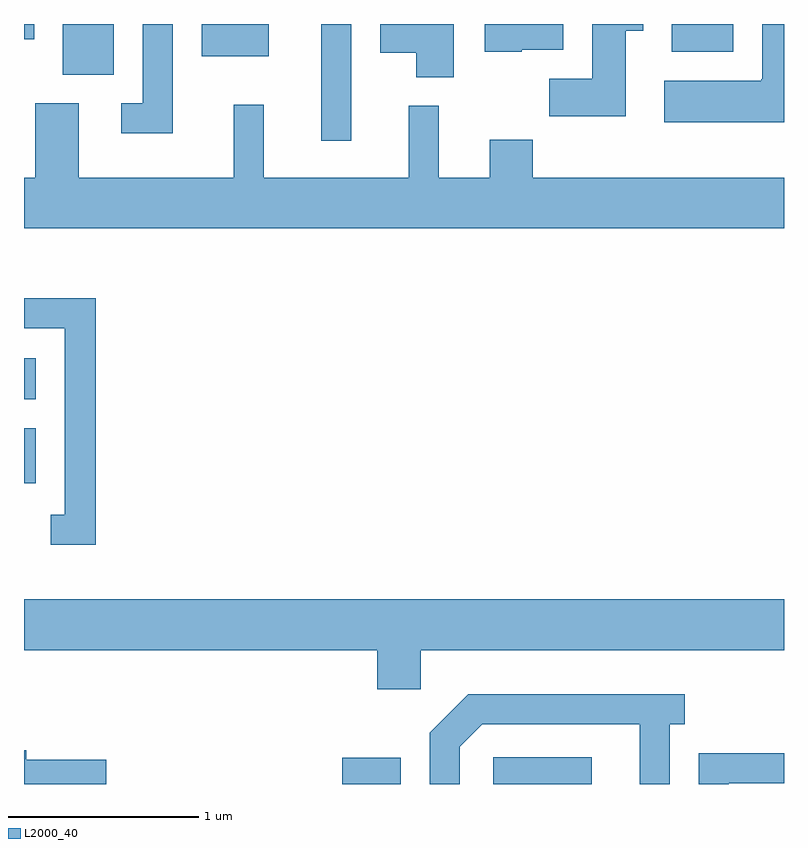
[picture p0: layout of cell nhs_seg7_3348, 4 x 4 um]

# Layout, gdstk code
import gdstk
lib = gdstk.Library(unit=1e-6, precision=1e-09)
def R(c, l, rs):  # rectangles x0, y0, x1, y1
    for r in rs: c.add(gdstk.rectangle(r[:2], r[2:], *l))
def P(c, l, *ps):  # polygons
    for p in ps: c.add(gdstk.Polygon(p, *l))
L2000_40 = (2000, 40)

nhs_seg7_3348 = lib.new_cell('nhs_seg7_3348')
R(nhs_seg7_3348, L2000_40, [(289.286,1740.252,289.594,1740.389), (290.081,1740.252,290.598,1740.394), (287.611,1741.836,287.674,1742.124), (287.611,1742.276,287.674,1742.494), (289.176,1743.638,289.334,1744.252), (287.816,1743.986,288.084,1744.252), (288.546,1744.081,288.899,1744.252), (291.021,1744.106,291.344,1744.252), (287.611,1744.171,287.664,1744.252)])
P(nhs_seg7_3348, L2000_40, [(288.394,1744.252),(288.236,1744.252),(288.236,1743.834),(288.123,1743.834),(288.123,1743.676),(288.394,1743.676)],
  [(289.874,1744.252),(289.486,1744.252),(289.486,1744.101),(289.676,1744.101),(289.676,1743.971),(289.874,1743.971)],
  [(290.779,1744.216),(290.869,1744.216),(290.869,1744.252),(290.601,1744.252),(290.601,1743.964),(290.376,1743.964),(290.376,1743.766),(290.779,1743.766)],
  [(291.611,1744.252),(291.496,1744.252),(291.496,1743.96),(291.49,1743.96),(291.49,1743.954),(290.981,1743.954),(290.981,1743.736),(291.611,1743.736)],
  [(290.23,1744.116),(290.449,1744.116),(290.449,1744.252),(290.036,1744.252),(290.036,1744.106),(290.23,1744.106)],
  [(291.611,1743.444),(290.289,1743.444),(290.289,1743.644),(290.061,1743.644),(290.061,1743.444),(289.794,1743.444),(289.794,1743.823),(289.636,1743.823),(289.636,1743.444),(288.874,1743.444),(288.874,1743.828),(288.716,1743.828),(288.716,1743.444),(287.899,1743.444),(287.899,1743.834),(287.671,1743.834),(287.671,1743.444),(287.611,1743.444),(287.611,1743.176),(291.611,1743.176)],
  [(287.989,1742.809),(287.611,1742.809),(287.611,1742.651),(287.826,1742.651),(287.826,1741.669),(287.753,1741.669),(287.753,1741.511),(287.989,1741.511)],
  [(289.699,1740.956),(291.611,1740.956),(291.611,1741.224),(287.611,1741.224),(287.611,1740.956),(289.471,1740.956),(289.471,1740.751),(289.699,1740.751)],
  [(289.904,1740.449),(290.022,1740.566),(290.851,1740.566),(290.851,1740.252),(291.009,1740.252),(291.009,1740.566),(291.088,1740.566),(291.088,1740.724),(289.949,1740.724),(289.746,1740.522),(289.746,1740.252),(289.904,1740.252)],
  [(288.044,1740.379),(287.624,1740.379),(287.624,1740.429),(287.611,1740.429),(287.611,1740.252),(288.044,1740.252)],
  [(291.319,1740.256),(291.611,1740.256),(291.611,1740.414),(291.161,1740.414),(291.161,1740.252),(291.319,1740.252)])

lib.write_gds('nhs_seg7_3348.gds')
